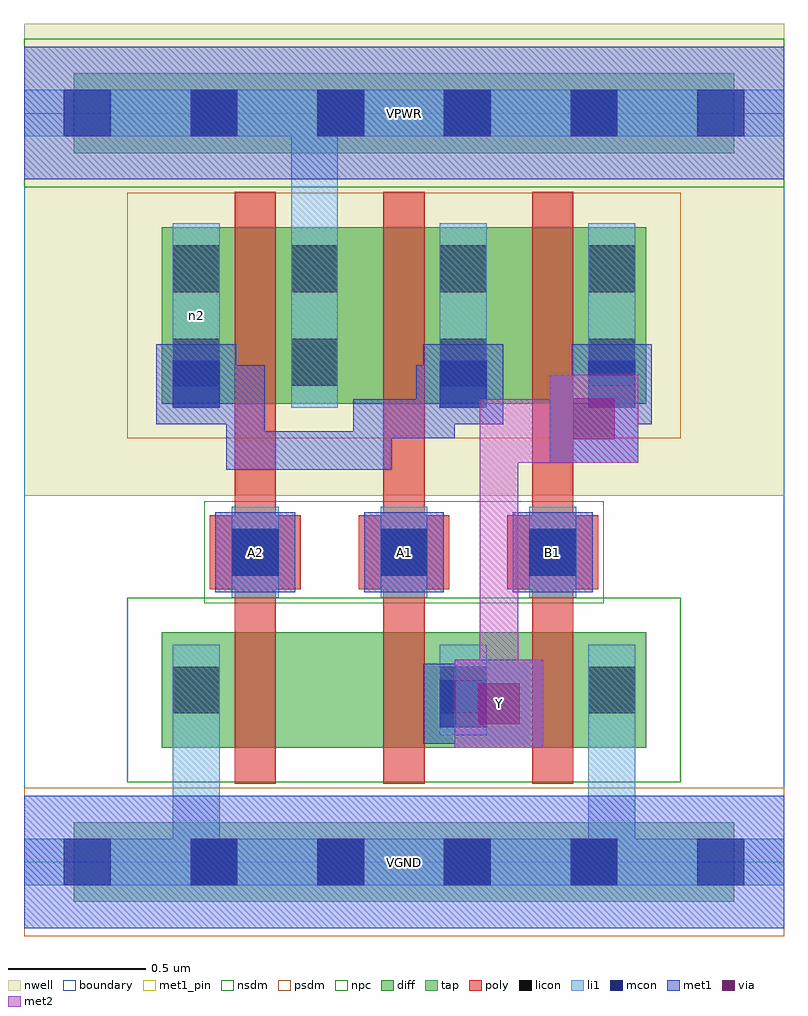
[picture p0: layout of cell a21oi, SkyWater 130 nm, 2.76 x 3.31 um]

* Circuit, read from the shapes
.subckt a21oi A1 A2 B1 VGND VPWR Y n2
XM1 n1 A2 VGND VGND sky130_fd_pr__nfet_01v8 w=0.42 l=0.15
XM2 Y A1 n1 VGND sky130_fd_pr__nfet_01v8 w=0.42 l=0.15
XM3 VGND B1 Y VGND sky130_fd_pr__nfet_01v8 w=0.42 l=0.15
XM4 VPWR A2 n2 VPWR sky130_fd_pr__pfet_01v8 w=0.64 l=0.15
XM5 n2 A1 VPWR VPWR sky130_fd_pr__pfet_01v8 w=0.64 l=0.15
XM6 Y B1 n2 VPWR sky130_fd_pr__pfet_01v8 w=0.64 l=0.15
.ends

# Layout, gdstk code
import gdstk
lib = gdstk.Library(unit=1e-6, precision=1e-09)
def R(c, l, rs):  # rectangles x0, y0, x1, y1
    for r in rs: c.add(gdstk.rectangle(r[:2], r[2:], *l))
def A(c, l, x, y, w, h, nx, ny, dx, dy):  # array of equal rectangles
    R(c, l, [(x+i*dx, y+j*dy, x+i*dx+w, y+j*dy+h) for i in range(nx) for j in range(ny)])
nwell = (64, 20)
diff = (65, 20)
tap = (65, 44)
poly = (66, 20)
licon = (66, 44)
li1 = (67, 20)
mcon = (67, 44)
met1_pin = (68, 16)
met1 = (68, 20)
via = (68, 44)
met2 = (69, 20)
nsdm = (93, 44)
psdm = (94, 20)
npc = (95, 20)
boundary = (235, 4)

a21oi = lib.new_cell('a21oi')
R(a21oi, nwell, [(0,1.33,2.76,3.045)])
R(a21oi, diff, [(0.5,0.415,2.26,0.835), (0.5,1.665,2.26,2.305)])
R(a21oi, tap, [(0.18,-0.145,2.58,0.145), (0.18,2.575,2.58,2.865)])
A(a21oi, poly, 0.765, 0.285, 0.15, 2.15, 3, 1, 0.54, 0)
A(a21oi, poly, 0.675, 0.99, 0.33, 0.27, 3, 1, 0.54, 0)
A(a21oi, licon, 0.605, -0.085, 0.17, 0.17, 4, 2, 0.46, 2.72)
A(a21oi, licon, 0.755, 1.04, 0.17, 0.17, 3, 1, 0.54, 0)
A(a21oi, licon, 0.97, 1.73, 0.17, 0.17, 3, 2, 0.54, 0.34)
R(a21oi, licon, [(0.54,0.54,0.71,0.71), (1.51,0.54,1.68,0.71), (2.05,0.54,2.22,0.71), (0.54,1.73,0.71,1.9), (0.54,2.07,0.71,2.24)])
A(a21oi, li1, 0.755, 0.96, 0.17, 0.33, 3, 1, 0.54, 0)
A(a21oi, li1, 0.97, 1.65, 0.17, 0.67, 3, 1, 0.54, 0)
R(a21oi, li1, [(0,-0.085,2.76,0.085), (0.54,-0.085,0.71,0.79), (2.05,-0.085,2.22,0.79), (0.54,0.46,0.71,0.79), (1.51,0.46,1.68,0.79), (2.05,0.46,2.22,0.79), (0.54,1.65,0.71,2.32), (0.97,1.65,1.14,2.805), (0,2.635,2.76,2.805)])
A(a21oi, mcon, 0.145, -0.085, 0.17, 0.17, 6, 2, 0.46, 2.72)
A(a21oi, mcon, 0.755, 1.04, 0.17, 0.17, 3, 1, 0.54, 0)
R(a21oi, mcon, [(1.51,0.49,1.68,0.66), (0.54,1.65,0.71,1.82), (1.51,1.65,1.68,1.82), (2.05,1.65,2.22,1.82)])
A(a21oi, met1_pin, 0.695, 0.98, 0.29, 0.29, 3, 1, 0.54, 0)
R(a21oi, met1_pin, [(0,-0.24,2.76,0.24), (1.565,0.415,1.885,0.735), (0,2.48,2.76,2.96)])
A(a21oi, met1, 0.695, 0.98, 0.29, 0.29, 3, 1, 0.54, 0)
R(a21oi, met1, [(0,-0.24,2.76,0.24), (1.565,0.415,1.885,0.735), (1.45,0.43,1.74,0.72), (1.525,0.505,1.795,0.645), (0.735,1.425,0.875,1.68), (0.735,1.425,1.335,1.565), (1.195,1.425,1.335,1.68), (1.91,1.45,2.23,1.77), (0.735,1.54,0.875,1.805), (1.195,1.54,1.565,1.68), (1.425,1.54,1.565,1.805), (2,1.54,2.14,1.805), (0.48,1.59,0.77,1.88), (1.45,1.59,1.74,1.88), (1.99,1.59,2.28,1.88), (0.555,1.665,0.875,1.805), (1.425,1.665,1.665,1.805), (2,1.665,2.205,1.805), (0,2.48,2.76,2.96)])
R(a21oi, via, [(1.65,0.5,1.8,0.65), (1.995,1.535,2.145,1.685)])
R(a21oi, met2, [(1.565,0.415,1.885,0.735), (1.655,0.505,1.795,1.68), (1.795,1.45,1.91,1.68), (1.91,1.45,2.23,1.77), (1.655,1.54,2.14,1.68)])
R(a21oi, nsdm, [(0.375,0.29,2.385,0.96), (0,2.45,2.76,2.99)])
R(a21oi, psdm, [(0,-0.27,2.76,0.27), (0.375,1.54,2.385,2.43)])
R(a21oi, npc, [(0.655,0.94,2.105,1.31)])
R(a21oi, boundary, [(0,0,2.76,2.72)])
a21oi.add(gdstk.Label('n2', (0.625,1.985), layer=67, texttype=5))
a21oi.add(gdstk.Label('A1', (1.38,1.125), layer=68, texttype=5))
a21oi.add(gdstk.Label('A2', (0.84,1.125), layer=68, texttype=5))
a21oi.add(gdstk.Label('B1', (1.92,1.125), layer=68, texttype=5))
a21oi.add(gdstk.Label('Y', (1.725,0.575), layer=68, texttype=5))
a21oi.add(gdstk.Label('VPWR', (1.38,2.72), layer=68, texttype=5))
a21oi.add(gdstk.Label('VGND', (1.38,0), layer=68, texttype=5))
a21oi.add(gdstk.Label('A1', (1.38,1.125), layer=68, texttype=16))
a21oi.add(gdstk.Label('A2', (0.84,1.125), layer=68, texttype=16))
a21oi.add(gdstk.Label('B1', (1.92,1.125), layer=68, texttype=16))
a21oi.add(gdstk.Label('Y', (1.725,0.575), layer=68, texttype=16))
a21oi.add(gdstk.Label('VPWR', (1.38,2.72), layer=68, texttype=16))
a21oi.add(gdstk.Label('VGND', (1.38,0), layer=68, texttype=16))

lib.write_gds('a21oi.gds')
